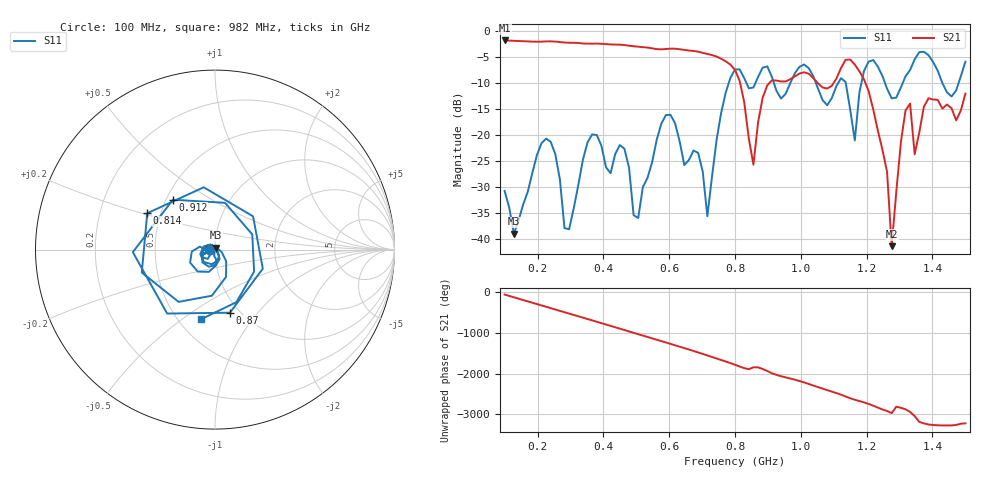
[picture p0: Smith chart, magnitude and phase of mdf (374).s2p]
! NanoVNA-App
! Date: 2025-09-25 15:41:20
! Start: 100MHz Stop: 1,5GHz Points: 101
! S-Parameter data: F S11 S21 S12 S22
# Hz S RI R 50
!  Frequency  S11_Real  S11_Imag  S21_Real  S21_Imag  S12_Real  S12_Imag  S22_Real  S22_Imag
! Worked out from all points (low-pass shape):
!   101 points, 100 MHz to 1.5 GHz, reference 50 ohm
!   highest |S21| = -1.80 dB at 100 MHz (marker M1); lowest = -41.4 dB at 1.276 GHz (marker M2)
!   |S21| within 3 dB of the highest: start of sweep to 739.3 MHz
!   lowest |S11| = -39.0 dB at 128 MHz (marker M3), VSWR 1.02, Z = 50.3 + j1.08 ohm
!   |S11| at or under -10 dB: start of sweep to 781 MHz; 1.046 GHz to 1.113 GHz (67.53 MHz wide, 6.25 % of centre); 1.256 GHz to 1.31 GHz (53.74 MHz wide, 4.19 % of centre) (the widest 3 of 7)
!   S12 and S22 are empty: the file has one direction only
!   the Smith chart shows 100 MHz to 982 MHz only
!   S11 on the Smith chart (normalised r, x): 100 MHz: 0.94, -0.01; 814 MHz: 0.42, +0.21; 870 MHz: 0.90, -0.73; 912 MHz: 0.54, +0.35; 982 MHz: 0.65, -0.59
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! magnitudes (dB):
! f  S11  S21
! 100 MHz  -30.7  -1.8
! 128 MHz  -39.0  -1.9
! 212 MHz  -21.6  -2.0
! 282 MHz  -37.9  -2.2
! 338 MHz  -24.7  -2.4
! 464 MHz  -22.6  -2.7
! 506 MHz  -35.9  -3.0
! 576 MHz  -17.8  -3.5
! 716 MHz  -35.6  -4.4
! 800 MHz  -7.4  -7.4
! 814 MHz  -7.4  -9.6
! 856 MHz  -10.8  -25.7
! 870 MHz  -8.8  -17.6
! 912 MHz  -8.8  -9.5
! 982 MHz  -8.1  -8.7
! 1.038 GHz  -8.7  -9.1
! 1.164 GHz  -21.0  -6.5
! 1.192 GHz  -7.6  -9.3
! 1.262 GHz  -11.1  -27.1
! 1.276 GHz  -12.9  -41.4
! 1.318 GHz  -8.7  -15.3
! 1.5 GHz  -5.9  -12.0
